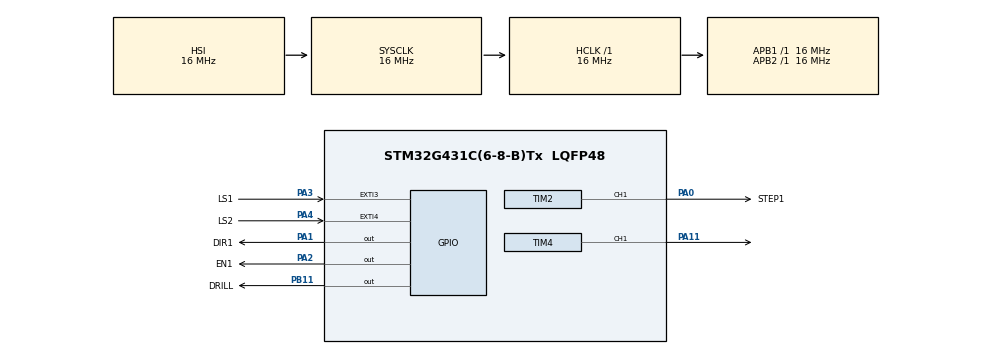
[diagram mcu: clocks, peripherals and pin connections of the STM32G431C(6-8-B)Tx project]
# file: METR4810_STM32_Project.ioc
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FREERTOS.Tasks01=defaultTask,24,128,StartDefaultTask,Default,NULL,Static,defaultTaskBuffer,defaultTaskControlBlock
Mcu.Family=STM32G4
Mcu.Name=STM32G431C(6-8-B)Tx
Mcu.Package=LQFP48
NVIC.EXTI3_IRQn=true\:5\:0\:false\:false\:true\:true\:true\:true\:true
NVIC.EXTI4_IRQn=true\:5\:0\:false\:false\:true\:true\:true\:true\:true
NVIC.PriorityGroup=NVIC_PRIORITYGROUP_4
NVIC.TIM6_DAC_IRQn=true\:15\:0\:false\:false\:true\:false\:false\:true\:true
NVIC.TimeBase=TIM6_DAC_IRQn
NVIC.TimeBaseIP=TIM6
PA0.GPIO_Label=STEP1
PA0.GPIO_Speed=GPIO_SPEED_FREQ_HIGH
PA0.Signal=S_TIM2_CH1
PA1.GPIO_Label=DIR1
PA1.Signal=GPIO_Output
PA11.Signal=S_TIM4_CH1
PA13.Mode=Serial_Wire
PA13.Signal=SYS_JTMS-SWDIO
PA14.Mode=Serial_Wire
PA14.Signal=SYS_JTCK-SWCLK
PA2.GPIO_Label=EN1
PA2.Signal=GPIO_Output
PA3.GPIO_Label=LS1
PA3.Signal=GPXTI3
PA4.GPIO_Label=LS2
PA4.Signal=GPXTI4
PB11.GPIO_Label=DRILL
PB11.Signal=GPIO_Output
ProjectManager.HeapSize=0x200
ProjectManager.StackSize=0x400
ProjectManager.TargetToolchain=CMake
RCC.AHBFreq_Value=16000000
RCC.APB1Freq_Value=16000000
RCC.APB1TimFreq_Value=16000000
RCC.APB2Freq_Value=16000000
RCC.APB2TimFreq_Value=16000000
RCC.CortexFreq_Value=16000000
RCC.EXTERNAL_CLOCK_VALUE=12288000
RCC.HCLKFreq_Value=16000000
RCC.HSE_VALUE=8000000
RCC.HSI48_VALUE=48000000
RCC.HSI_VALUE=16000000
RCC.LSE_VALUE=32768
RCC.SYSCLKFreq_VALUE=16000000
RCC.USBFreq_Value=64000000
RCC.VCOOutputFreq_Value=128000000
SH.S_TIM2_CH1.0=TIM2_CH1,PWM Generation1 CH1
SH.S_TIM4_CH1.0=TIM4_CH1,PWM Generation1 CH1
TIM2.AutoReloadPreload=TIM_AUTORELOAD_PRELOAD_ENABLE
TIM2.Channel-PWM\ Generation1\ CH1=TIM_CHANNEL_1
TIM2.PeriodNoDither=19999
TIM2.Prescaler=169
TIM2.PulseNoDither_1=10000
TIM4.Channel-PWM\ Generation1\ CH1=TIM_CHANNEL_1
TIM4.PeriodNoDither=19999
TIM4.Prescaler=169
TIM4.PulseNoDither_1=1500
VP_FREERTOS_VS_CMSIS_V2.Mode=CMSIS_V2
VP_SYS_VS_DBSignals.Mode=DisableDeadBatterySignals
VP_SYS_VS_tim6.Mode=TIM6
VP_TIM2_VS_ClockSourceINT.Mode=Internal
VP_TIM4_VS_ClockSourceINT.Mode=Internal
board=custom

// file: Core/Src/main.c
/* USER CODE BEGIN Header */
/**
  ******************************************************************************
  * @file           : main.c
  * @brief          : Main program body
  ******************************************************************************
  * @attention
  *
  * Copyright (c) 2026 STMicroelectronics.
  * All rights reserved.
  *
  * This software is licensed under terms that can be found in the LICENSE file
  * in the root directory of this software component.
  * If no LICENSE file comes with this software, it is provided AS-IS.
  *
  ******************************************************************************
  */
/* USER CODE END Header */
#include "main.h"
#include "cmsis_os.h"
#include "tim.h"
#include "gpio.h"

/* USER CODE BEGIN Includes */

#include "semphr.h"
#include <stdint.h>

/* USER CODE END Includes */

/* USER CODE BEGIN PD */

#define NOT_TOGGLED 0
#define TOGGLED 1

#define LS1 (1 << 0)
#define LS2 (1 << 1)

/* USER CODE END PD */

/* USER CODE BEGIN PV */

extern osThreadId_t defaultTaskHandle;

uint16_t LS1_toggled = NOT_TOGGLED;
uint16_t LS2_toggled = NOT_TOGGLED;

/* USER CODE END PV */

void SystemClock_Config(void);
void MX_FREERTOS_Init(void);

int main(void)
{

  /* MCU Configuration--------------------------------------------------------*/

  /* Reset of all peripherals, Initializes the Flash interface and the Systick. */
  HAL_Init();

  /* Configure the system clock */
  SystemClock_Config();

  /* Initialize all configured peripherals */
  MX_GPIO_Init();
  MX_TIM2_Init();
  MX_TIM4_Init();

  /* Init scheduler */
  osKernelInitialize();  /* Call init function for freertos objects (in cmsis_os2.c) */
  MX_FREERTOS_Init();

  /* Start scheduler */
  osKernelStart();

  /* We should never get here as control is now taken by the scheduler */

  /* Infinite loop */
  while (1)
  {

  }
}

void SystemClock_Config(void)
{
  RCC_OscInitTypeDef RCC_OscInitStruct = {0};
  RCC_ClkInitTypeDef RCC_ClkInitStruct = {0};

  /** Configure the main internal regulator output voltage
  */
  HAL_PWREx_ControlVoltageScaling(PWR_REGULATOR_VOLTAGE_SCALE1);

  /** Initializes the RCC Oscillators according to the specified parameters
  * in the RCC_OscInitTypeDef structure.
  */
  RCC_OscInitStruct.OscillatorType = RCC_OSCILLATORTYPE_HSI;
  RCC_OscInitStruct.HSIState = RCC_HSI_ON;
  RCC_OscInitStruct.HSICalibrationValue = RCC_HSICALIBRATION_DEFAULT;
  RCC_OscInitStruct.PLL.PLLState = RCC_PLL_NONE;
  if (HAL_RCC_OscConfig(&RCC_OscInitStruct) != HAL_OK)
  {
    Error_Handler();
  }

  /** Initializes the CPU, AHB and APB buses clocks
  */
  RCC_ClkInitStruct.ClockType = RCC_CLOCKTYPE_HCLK|RCC_CLOCKTYPE_SYSCLK
                              |RCC_CLOCKTYPE_PCLK1|RCC_CLOCKTYPE_PCLK2;
  RCC_ClkInitStruct.SYSCLKSource = RCC_SYSCLKSOURCE_HSI;
  RCC_ClkInitStruct.AHBCLKDivider = RCC_SYSCLK_DIV1;
  RCC_ClkInitStruct.APB1CLKDivider = RCC_HCLK_DIV1;
  RCC_ClkInitStruct.APB2CLKDivider = RCC_HCLK_DIV1;

  if (HAL_RCC_ClockConfig(&RCC_ClkInitStruct, FLASH_LATENCY_0) != HAL_OK)
  {
    Error_Handler();
  }
}

/* USER CODE BEGIN 4 */

void HAL_GPIO_EXTI_Callback(uint16_t GPIO_Pin)
{

  BaseType_t higherTaskWoken = pdFALSE;

  if (GPIO_Pin == LS1_Pin && LS1_toggled == NOT_TOGGLED) {
    LS1_toggled = TOGGLED;
    LS2_toggled = NOT_TOGGLED;

    uint32_t msg = LS1;
    xTaskNotifyFromISR(defaultTaskHandle, msg, eSetValueWithOverwrite, &higherTaskWoken);
    portYIELD_FROM_ISR(higherTaskWoken);

  } else if (GPIO_Pin == LS2_Pin && LS2_toggled == NOT_TOGGLED) {
    LS2_toggled = TOGGLED;
    LS1_toggled = NOT_TOGGLED;

    uint32_t msg = LS2;
    xTaskNotifyFromISR(defaultTaskHandle, msg, eSetValueWithOverwrite, &higherTaskWoken);
    portYIELD_FROM_ISR(higherTaskWoken);
  }
}

/* USER CODE END 4 */

void HAL_TIM_PeriodElapsedCallback(TIM_HandleTypeDef *htim)
{
  if (htim->Instance == TIM6)
  {
    HAL_IncTick();
  }
}

void Error_Handler(void)
{
  __disable_irq();
  while (1)
  {
  }
}

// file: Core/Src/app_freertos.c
/* USER CODE BEGIN Header */
/**
  ******************************************************************************
  * File Name          : app_freertos.c
  * Description        : Code for freertos applications
  ******************************************************************************
  * @attention
  *
  * Copyright (c) 2026 STMicroelectronics.
  * All rights reserved.
  *
  * This software is licensed under terms that can be found in the LICENSE file
  * in the root directory of this software component.
  * If no LICENSE file comes with this software, it is provided AS-IS.
  *
  ******************************************************************************
  */
/* USER CODE END Header */

#include "FreeRTOS.h"
#include "task.h"
#include "main.h"
#include "cmsis_os.h"

/* USER CODE BEGIN Includes */

#include <stdint.h>

/* USER CODE END Includes */

typedef StaticTask_t osStaticThreadDef_t;

/* USER CODE BEGIN PD */

#define START_UP_TIME 100 // 0.1 seconds

#define DRILL_TIME 5000   // 5 seconds

#define CHANGE_DIRECTION_TIME 500   // 0.5 seconds

#define LS2 (1 << 1)

#define MIN_FREQUENCY 100
#define MAX_FREQUENCY 500
#define FREQUENCY_STEP 100

#define MAX_DIRECTION_CHANGES 1

/* USER CODE END PD */

/* USER CODE BEGIN Variables */

extern TIM_HandleTypeDef htim2;
extern TIM_HandleTypeDef htim4;

uint16_t direction_changes = 0;

/* USER CODE END Variables */
/* Definitions for defaultTask */
osThreadId_t defaultTaskHandle;
uint32_t defaultTaskBuffer[ 128 ];
osStaticThreadDef_t defaultTaskControlBlock;
const osThreadAttr_t defaultTask_attributes = {
  .name = "defaultTask",
  .stack_mem = &defaultTaskBuffer[0],
  .stack_size = sizeof(defaultTaskBuffer),
  .cb_mem = &defaultTaskControlBlock,
  .cb_size = sizeof(defaultTaskControlBlock),
  .priority = (osPriority_t) osPriorityNormal,
};

/* USER CODE BEGIN FunctionPrototypes */

void turn_right(void);
void turn_left(void);
void start_motor(void);
void stop_motor(void);

/* USER CODE END FunctionPrototypes */

void StartDefaultTask(void *argument);

void MX_FREERTOS_Init(void); /* (MISRA C 2004 rule 8.1) */

void MX_FREERTOS_Init(void) {

  /* Create the thread(s) */
  /* creation of defaultTask */
  defaultTaskHandle = osThreadNew(StartDefaultTask, NULL, &defaultTask_attributes);

}

void StartDefaultTask(void *argument)
{
  /* USER CODE BEGIN StartDefaultTask */

  uint32_t msg = 0;

  osDelay(START_UP_TIME);

  // Turn robot
  HAL_TIM_PWM_Start(&htim4, TIM_CHANNEL_1);
  turn_right();

  // Set forward direction and enable stepper motor
  HAL_GPIO_WritePin(DIR1_GPIO_Port, DIR1_Pin, GPIO_PIN_SET);
  HAL_GPIO_WritePin(EN1_GPIO_Port, EN1_Pin, GPIO_PIN_RESET);

  // Start drill
  HAL_GPIO_WritePin(DRILL_GPIO_Port, DRILL_Pin, GPIO_PIN_SET);

  start_motor();

  /* Infinite loop */
  for(;;)
  {
    // Wait for limit switches or 5 seconds to switch directions
    xTaskNotifyWait(0, 0xFFFFFFFF, &msg, portMAX_DELAY);

    stop_motor();

    if (msg & LS2) {
      // Stop the motor, everything is done
      HAL_GPIO_WritePin(DRILL_GPIO_Port, DRILL_Pin, GPIO_PIN_RESET);
    } else {
      // Change direction
      HAL_GPIO_TogglePin(DIR1_GPIO_Port, DIR1_Pin);

      // Give the driver time to register the new direction
      osDelay(CHANGE_DIRECTION_TIME);

      start_motor();
    }
  }
  /* USER CODE END StartDefaultTask */
}

/* USER CODE BEGIN Application */

void turn_right(void) {
  uint16_t start = 1500;
  uint16_t target = 1233;

  for (uint16_t pulse = start; pulse > target; pulse--) {
    __HAL_TIM_SET_COMPARE(&htim4, TIM_CHANNEL_1, pulse);

    HAL_Delay(7);
  }
}

void turn_left(void) {
  uint16_t start = 1233;
  uint16_t target = 1500;

  for (uint16_t pulse = start; pulse < target; pulse++) {
    __HAL_TIM_SET_COMPARE(&htim4, TIM_CHANNEL_1, pulse);

    HAL_Delay(7);
  }
}

void start_motor(void) {
  HAL_TIM_PWM_Start(&htim2, TIM_CHANNEL_1);

  uint32_t frequency = MIN_FREQUENCY;

  while (frequency <= MAX_FREQUENCY) {
    uint32_t arr = (1000000 / frequency) - 1;

    __HAL_TIM_SET_AUTORELOAD(&htim2, arr);
    __HAL_TIM_SET_COMPARE(&htim2, TIM_CHANNEL_1, (arr + 1) / 2);

    osDelay(100);

    frequency += FREQUENCY_STEP;
  }
}

void stop_motor(void) {
  uint32_t frequency = MAX_FREQUENCY;

  while (frequency >= MIN_FREQUENCY) {
    uint32_t arr = (1000000 / frequency) - 1;

    __HAL_TIM_SET_AUTORELOAD(&htim2, arr);
    __HAL_TIM_SET_COMPARE(&htim2, TIM_CHANNEL_1, (arr + 1) / 2);

    osDelay(100);

    frequency -= FREQUENCY_STEP;
  }

  HAL_TIM_PWM_Stop(&htim2, TIM_CHANNEL_1);
}

/* USER CODE END Application */
